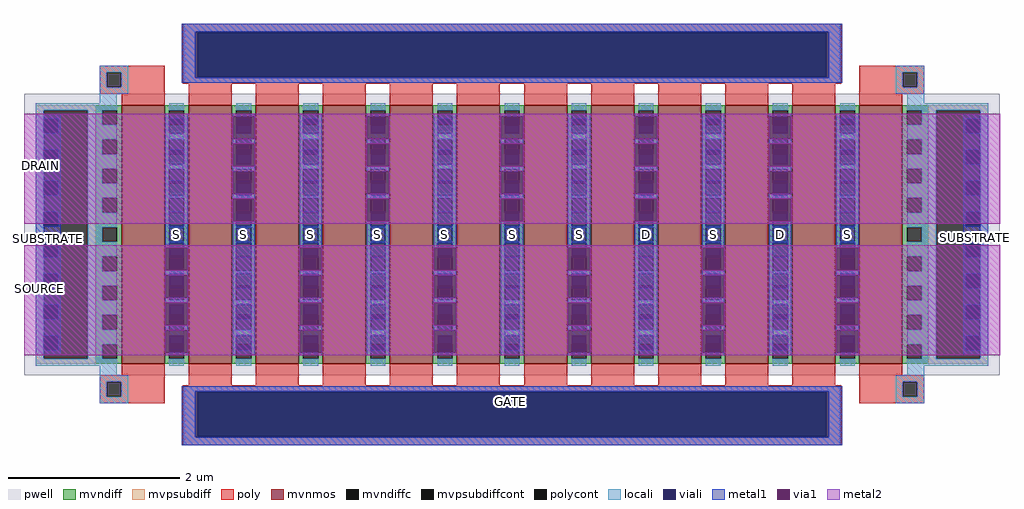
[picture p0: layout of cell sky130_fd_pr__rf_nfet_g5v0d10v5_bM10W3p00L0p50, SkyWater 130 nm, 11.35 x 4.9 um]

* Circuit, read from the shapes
.subckt sky130_fd_pr__rf_nfet_g5v0d10v5_bM10W3p00L0p50 DRAIN GATE SOURCE SUBSTRATE
XM1 SOURCE SUBSTRATE SUBSTRATE SUBSTRATE sky130_fd_pr__nfet_g5v0d10v5 w=3.01 l=0.5 m=2
XM2 DRAIN GATE SOURCE SUBSTRATE sky130_fd_pr__nfet_g5v0d10v5 w=3.01 l=0.5 m=10
.ends

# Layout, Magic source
magic
tech sky130A
magscale 1 2
<< pwell >>
rect 15 163 2283 817
<< mvnmos >>
rect 241 189 341 791
rect 397 189 497 791
rect 553 189 653 791
rect 709 189 809 791
rect 865 189 965 791
rect 1021 189 1121 791
rect 1177 189 1277 791
rect 1333 189 1433 791
rect 1489 189 1589 791
rect 1645 189 1745 791
rect 1801 189 1901 791
rect 1957 189 2057 791
<< mvndiff >>
rect 181 779 241 791
rect 181 745 196 779
rect 230 745 241 779
rect 181 711 241 745
rect 181 677 196 711
rect 230 677 241 711
rect 181 643 241 677
rect 181 609 196 643
rect 230 609 241 643
rect 181 575 241 609
rect 181 541 196 575
rect 230 541 241 575
rect 181 507 241 541
rect 181 473 196 507
rect 230 473 241 507
rect 181 439 241 473
rect 181 405 196 439
rect 230 405 241 439
rect 181 371 241 405
rect 181 337 196 371
rect 230 337 241 371
rect 181 303 241 337
rect 181 269 196 303
rect 230 269 241 303
rect 181 235 241 269
rect 181 201 196 235
rect 230 201 241 235
rect 181 189 241 201
rect 341 779 397 791
rect 341 745 352 779
rect 386 745 397 779
rect 341 711 397 745
rect 341 677 352 711
rect 386 677 397 711
rect 341 643 397 677
rect 341 609 352 643
rect 386 609 397 643
rect 341 575 397 609
rect 341 541 352 575
rect 386 541 397 575
rect 341 507 397 541
rect 341 473 352 507
rect 386 473 397 507
rect 341 439 397 473
rect 341 405 352 439
rect 386 405 397 439
rect 341 371 397 405
rect 341 337 352 371
rect 386 337 397 371
rect 341 303 397 337
rect 341 269 352 303
rect 386 269 397 303
rect 341 235 397 269
rect 341 201 352 235
rect 386 201 397 235
rect 341 189 397 201
rect 497 779 553 791
rect 497 745 508 779
rect 542 745 553 779
rect 497 711 553 745
rect 497 677 508 711
rect 542 677 553 711
rect 497 643 553 677
rect 497 609 508 643
rect 542 609 553 643
rect 497 575 553 609
rect 497 541 508 575
rect 542 541 553 575
rect 497 507 553 541
rect 497 473 508 507
rect 542 473 553 507
rect 497 439 553 473
rect 497 405 508 439
rect 542 405 553 439
rect 497 371 553 405
rect 497 337 508 371
rect 542 337 553 371
rect 497 303 553 337
rect 497 269 508 303
rect 542 269 553 303
rect 497 235 553 269
rect 497 201 508 235
rect 542 201 553 235
rect 497 189 553 201
rect 653 779 709 791
rect 653 745 664 779
rect 698 745 709 779
rect 653 711 709 745
rect 653 677 664 711
rect 698 677 709 711
rect 653 643 709 677
rect 653 609 664 643
rect 698 609 709 643
rect 653 575 709 609
rect 653 541 664 575
rect 698 541 709 575
rect 653 507 709 541
rect 653 473 664 507
rect 698 473 709 507
rect 653 439 709 473
rect 653 405 664 439
rect 698 405 709 439
rect 653 371 709 405
rect 653 337 664 371
rect 698 337 709 371
rect 653 303 709 337
rect 653 269 664 303
rect 698 269 709 303
rect 653 235 709 269
rect 653 201 664 235
rect 698 201 709 235
rect 653 189 709 201
rect 809 779 865 791
rect 809 745 820 779
rect 854 745 865 779
rect 809 711 865 745
rect 809 677 820 711
rect 854 677 865 711
rect 809 643 865 677
rect 809 609 820 643
rect 854 609 865 643
rect 809 575 865 609
rect 809 541 820 575
rect 854 541 865 575
rect 809 507 865 541
rect 809 473 820 507
rect 854 473 865 507
rect 809 439 865 473
rect 809 405 820 439
rect 854 405 865 439
rect 809 371 865 405
rect 809 337 820 371
rect 854 337 865 371
rect 809 303 865 337
rect 809 269 820 303
rect 854 269 865 303
rect 809 235 865 269
rect 809 201 820 235
rect 854 201 865 235
rect 809 189 865 201
rect 965 779 1021 791
rect 965 745 976 779
rect 1010 745 1021 779
rect 965 711 1021 745
rect 965 677 976 711
rect 1010 677 1021 711
rect 965 643 1021 677
rect 965 609 976 643
rect 1010 609 1021 643
rect 965 575 1021 609
rect 965 541 976 575
rect 1010 541 1021 575
rect 965 507 1021 541
rect 965 473 976 507
rect 1010 473 1021 507
rect 965 439 1021 473
rect 965 405 976 439
rect 1010 405 1021 439
rect 965 371 1021 405
rect 965 337 976 371
rect 1010 337 1021 371
rect 965 303 1021 337
rect 965 269 976 303
rect 1010 269 1021 303
rect 965 235 1021 269
rect 965 201 976 235
rect 1010 201 1021 235
rect 965 189 1021 201
rect 1121 779 1177 791
rect 1121 745 1132 779
rect 1166 745 1177 779
rect 1121 711 1177 745
rect 1121 677 1132 711
rect 1166 677 1177 711
rect 1121 643 1177 677
rect 1121 609 1132 643
rect 1166 609 1177 643
rect 1121 575 1177 609
rect 1121 541 1132 575
rect 1166 541 1177 575
rect 1121 507 1177 541
rect 1121 473 1132 507
rect 1166 473 1177 507
rect 1121 439 1177 473
rect 1121 405 1132 439
rect 1166 405 1177 439
rect 1121 371 1177 405
rect 1121 337 1132 371
rect 1166 337 1177 371
rect 1121 303 1177 337
rect 1121 269 1132 303
rect 1166 269 1177 303
rect 1121 235 1177 269
rect 1121 201 1132 235
rect 1166 201 1177 235
rect 1121 189 1177 201
rect 1277 779 1333 791
rect 1277 745 1288 779
rect 1322 745 1333 779
rect 1277 711 1333 745
rect 1277 677 1288 711
rect 1322 677 1333 711
rect 1277 643 1333 677
rect 1277 609 1288 643
rect 1322 609 1333 643
rect 1277 575 1333 609
rect 1277 541 1288 575
rect 1322 541 1333 575
rect 1277 507 1333 541
rect 1277 473 1288 507
rect 1322 473 1333 507
rect 1277 439 1333 473
rect 1277 405 1288 439
rect 1322 405 1333 439
rect 1277 371 1333 405
rect 1277 337 1288 371
rect 1322 337 1333 371
rect 1277 303 1333 337
rect 1277 269 1288 303
rect 1322 269 1333 303
rect 1277 235 1333 269
rect 1277 201 1288 235
rect 1322 201 1333 235
rect 1277 189 1333 201
rect 1433 779 1489 791
rect 1433 745 1444 779
rect 1478 745 1489 779
rect 1433 711 1489 745
rect 1433 677 1444 711
rect 1478 677 1489 711
rect 1433 643 1489 677
rect 1433 609 1444 643
rect 1478 609 1489 643
rect 1433 575 1489 609
rect 1433 541 1444 575
rect 1478 541 1489 575
rect 1433 507 1489 541
rect 1433 473 1444 507
rect 1478 473 1489 507
rect 1433 439 1489 473
rect 1433 405 1444 439
rect 1478 405 1489 439
rect 1433 371 1489 405
rect 1433 337 1444 371
rect 1478 337 1489 371
rect 1433 303 1489 337
rect 1433 269 1444 303
rect 1478 269 1489 303
rect 1433 235 1489 269
rect 1433 201 1444 235
rect 1478 201 1489 235
rect 1433 189 1489 201
rect 1589 779 1645 791
rect 1589 745 1600 779
rect 1634 745 1645 779
rect 1589 711 1645 745
rect 1589 677 1600 711
rect 1634 677 1645 711
rect 1589 643 1645 677
rect 1589 609 1600 643
rect 1634 609 1645 643
rect 1589 575 1645 609
rect 1589 541 1600 575
rect 1634 541 1645 575
rect 1589 507 1645 541
rect 1589 473 1600 507
rect 1634 473 1645 507
rect 1589 439 1645 473
rect 1589 405 1600 439
rect 1634 405 1645 439
rect 1589 371 1645 405
rect 1589 337 1600 371
rect 1634 337 1645 371
rect 1589 303 1645 337
rect 1589 269 1600 303
rect 1634 269 1645 303
rect 1589 235 1645 269
rect 1589 201 1600 235
rect 1634 201 1645 235
rect 1589 189 1645 201
rect 1745 779 1801 791
rect 1745 745 1756 779
rect 1790 745 1801 779
rect 1745 711 1801 745
rect 1745 677 1756 711
rect 1790 677 1801 711
rect 1745 643 1801 677
rect 1745 609 1756 643
rect 1790 609 1801 643
rect 1745 575 1801 609
rect 1745 541 1756 575
rect 1790 541 1801 575
rect 1745 507 1801 541
rect 1745 473 1756 507
rect 1790 473 1801 507
rect 1745 439 1801 473
rect 1745 405 1756 439
rect 1790 405 1801 439
rect 1745 371 1801 405
rect 1745 337 1756 371
rect 1790 337 1801 371
rect 1745 303 1801 337
rect 1745 269 1756 303
rect 1790 269 1801 303
rect 1745 235 1801 269
rect 1745 201 1756 235
rect 1790 201 1801 235
rect 1745 189 1801 201
rect 1901 779 1957 791
rect 1901 745 1912 779
rect 1946 745 1957 779
rect 1901 711 1957 745
rect 1901 677 1912 711
rect 1946 677 1957 711
rect 1901 643 1957 677
rect 1901 609 1912 643
rect 1946 609 1957 643
rect 1901 575 1957 609
rect 1901 541 1912 575
rect 1946 541 1957 575
rect 1901 507 1957 541
rect 1901 473 1912 507
rect 1946 473 1957 507
rect 1901 439 1957 473
rect 1901 405 1912 439
rect 1946 405 1957 439
rect 1901 371 1957 405
rect 1901 337 1912 371
rect 1946 337 1957 371
rect 1901 303 1957 337
rect 1901 269 1912 303
rect 1946 269 1957 303
rect 1901 235 1957 269
rect 1901 201 1912 235
rect 1946 201 1957 235
rect 1901 189 1957 201
rect 2057 779 2117 791
rect 2057 745 2068 779
rect 2102 745 2117 779
rect 2057 711 2117 745
rect 2057 677 2068 711
rect 2102 677 2117 711
rect 2057 643 2117 677
rect 2057 609 2068 643
rect 2102 609 2117 643
rect 2057 575 2117 609
rect 2057 541 2068 575
rect 2102 541 2117 575
rect 2057 507 2117 541
rect 2057 473 2068 507
rect 2102 473 2117 507
rect 2057 439 2117 473
rect 2057 405 2068 439
rect 2102 405 2117 439
rect 2057 371 2117 405
rect 2057 337 2068 371
rect 2102 337 2117 371
rect 2057 303 2117 337
rect 2057 269 2068 303
rect 2102 269 2117 303
rect 2057 235 2117 269
rect 2057 201 2068 235
rect 2102 201 2117 235
rect 2057 189 2117 201
<< mvndiffc >>
rect 196 745 230 779
rect 196 677 230 711
rect 196 609 230 643
rect 196 541 230 575
rect 196 473 230 507
rect 196 405 230 439
rect 196 337 230 371
rect 196 269 230 303
rect 196 201 230 235
rect 352 745 386 779
rect 352 677 386 711
rect 352 609 386 643
rect 352 541 386 575
rect 352 473 386 507
rect 352 405 386 439
rect 352 337 386 371
rect 352 269 386 303
rect 352 201 386 235
rect 508 745 542 779
rect 508 677 542 711
rect 508 609 542 643
rect 508 541 542 575
rect 508 473 542 507
rect 508 405 542 439
rect 508 337 542 371
rect 508 269 542 303
rect 508 201 542 235
rect 664 745 698 779
rect 664 677 698 711
rect 664 609 698 643
rect 664 541 698 575
rect 664 473 698 507
rect 664 405 698 439
rect 664 337 698 371
rect 664 269 698 303
rect 664 201 698 235
rect 820 745 854 779
rect 820 677 854 711
rect 820 609 854 643
rect 820 541 854 575
rect 820 473 854 507
rect 820 405 854 439
rect 820 337 854 371
rect 820 269 854 303
rect 820 201 854 235
rect 976 745 1010 779
rect 976 677 1010 711
rect 976 609 1010 643
rect 976 541 1010 575
rect 976 473 1010 507
rect 976 405 1010 439
rect 976 337 1010 371
rect 976 269 1010 303
rect 976 201 1010 235
rect 1132 745 1166 779
rect 1132 677 1166 711
rect 1132 609 1166 643
rect 1132 541 1166 575
rect 1132 473 1166 507
rect 1132 405 1166 439
rect 1132 337 1166 371
rect 1132 269 1166 303
rect 1132 201 1166 235
rect 1288 745 1322 779
rect 1288 677 1322 711
rect 1288 609 1322 643
rect 1288 541 1322 575
rect 1288 473 1322 507
rect 1288 405 1322 439
rect 1288 337 1322 371
rect 1288 269 1322 303
rect 1288 201 1322 235
rect 1444 745 1478 779
rect 1444 677 1478 711
rect 1444 609 1478 643
rect 1444 541 1478 575
rect 1444 473 1478 507
rect 1444 405 1478 439
rect 1444 337 1478 371
rect 1444 269 1478 303
rect 1444 201 1478 235
rect 1600 745 1634 779
rect 1600 677 1634 711
rect 1600 609 1634 643
rect 1600 541 1634 575
rect 1600 473 1634 507
rect 1600 405 1634 439
rect 1600 337 1634 371
rect 1600 269 1634 303
rect 1600 201 1634 235
rect 1756 745 1790 779
rect 1756 677 1790 711
rect 1756 609 1790 643
rect 1756 541 1790 575
rect 1756 473 1790 507
rect 1756 405 1790 439
rect 1756 337 1790 371
rect 1756 269 1790 303
rect 1756 201 1790 235
rect 1912 745 1946 779
rect 1912 677 1946 711
rect 1912 609 1946 643
rect 1912 541 1946 575
rect 1912 473 1946 507
rect 1912 405 1946 439
rect 1912 337 1946 371
rect 1912 269 1946 303
rect 1912 201 1946 235
rect 2068 745 2102 779
rect 2068 677 2102 711
rect 2068 609 2102 643
rect 2068 541 2102 575
rect 2068 473 2102 507
rect 2068 405 2102 439
rect 2068 337 2102 371
rect 2068 269 2102 303
rect 2068 201 2102 235
<< mvpsubdiff >>
rect 41 779 181 791
rect 41 201 60 779
rect 162 201 181 779
rect 41 189 181 201
rect 2117 779 2257 791
rect 2117 201 2136 779
rect 2238 201 2257 779
rect 2117 189 2257 201
<< mvpsubdiffcont >>
rect 60 201 162 779
rect 2136 201 2238 779
<< poly >>
rect 383 959 1915 980
rect 190 867 341 883
rect 190 833 206 867
rect 240 833 341 867
rect 383 857 418 959
rect 1880 857 1915 959
rect 383 841 1915 857
rect 1957 867 2108 883
rect 190 817 341 833
rect 241 791 341 817
rect 397 791 497 841
rect 553 791 653 841
rect 709 791 809 841
rect 865 791 965 841
rect 1021 791 1121 841
rect 1177 791 1277 841
rect 1333 791 1433 841
rect 1489 791 1589 841
rect 1645 791 1745 841
rect 1801 791 1901 841
rect 1957 833 2058 867
rect 2092 833 2108 867
rect 1957 817 2108 833
rect 1957 791 2057 817
rect 241 163 341 189
rect 190 147 341 163
rect 190 113 206 147
rect 240 113 341 147
rect 397 139 497 189
rect 553 139 653 189
rect 709 139 809 189
rect 865 139 965 189
rect 1021 139 1121 189
rect 1177 139 1277 189
rect 1333 139 1433 189
rect 1489 139 1589 189
rect 1645 139 1745 189
rect 1801 139 1901 189
rect 1957 163 2057 189
rect 1957 147 2108 163
rect 190 97 341 113
rect 383 123 1915 139
rect 383 21 418 123
rect 1880 21 1915 123
rect 1957 113 2058 147
rect 2092 113 2108 147
rect 1957 97 2108 113
rect 383 0 1915 21
<< polycont >>
rect 206 833 240 867
rect 418 857 1880 959
rect 2058 833 2092 867
rect 206 113 240 147
rect 418 21 1880 123
rect 2058 113 2092 147
<< locali >>
rect 385 961 1913 980
rect 190 867 256 883
rect 190 833 206 867
rect 240 833 256 867
rect 385 855 412 961
rect 1886 855 1913 961
rect 385 843 1913 855
rect 2042 867 2108 883
rect 190 817 256 833
rect 2042 833 2058 867
rect 2092 833 2108 867
rect 2042 817 2108 833
rect 190 795 230 817
rect 2068 795 2108 817
rect 41 779 230 795
rect 41 201 60 779
rect 162 745 196 779
rect 162 711 230 745
rect 162 677 196 711
rect 162 643 230 677
rect 162 609 196 643
rect 162 575 230 609
rect 162 541 196 575
rect 162 507 230 541
rect 162 473 196 507
rect 162 439 230 473
rect 162 405 196 439
rect 162 371 230 405
rect 162 337 196 371
rect 162 303 230 337
rect 162 269 196 303
rect 162 235 230 269
rect 162 201 196 235
rect 41 185 230 201
rect 352 779 386 795
rect 352 711 386 725
rect 352 643 386 653
rect 352 575 386 581
rect 352 507 386 509
rect 352 471 386 473
rect 352 399 386 405
rect 352 327 386 337
rect 352 255 386 269
rect 352 185 386 201
rect 508 779 542 795
rect 508 711 542 725
rect 508 643 542 653
rect 508 575 542 581
rect 508 507 542 509
rect 508 471 542 473
rect 508 399 542 405
rect 508 327 542 337
rect 508 255 542 269
rect 508 185 542 201
rect 664 779 698 795
rect 664 711 698 725
rect 664 643 698 653
rect 664 575 698 581
rect 664 507 698 509
rect 664 471 698 473
rect 664 399 698 405
rect 664 327 698 337
rect 664 255 698 269
rect 664 185 698 201
rect 820 779 854 795
rect 820 711 854 725
rect 820 643 854 653
rect 820 575 854 581
rect 820 507 854 509
rect 820 471 854 473
rect 820 399 854 405
rect 820 327 854 337
rect 820 255 854 269
rect 820 185 854 201
rect 976 779 1010 795
rect 976 711 1010 725
rect 976 643 1010 653
rect 976 575 1010 581
rect 976 507 1010 509
rect 976 471 1010 473
rect 976 399 1010 405
rect 976 327 1010 337
rect 976 255 1010 269
rect 976 185 1010 201
rect 1132 779 1166 795
rect 1132 711 1166 725
rect 1132 643 1166 653
rect 1132 575 1166 581
rect 1132 507 1166 509
rect 1132 471 1166 473
rect 1132 399 1166 405
rect 1132 327 1166 337
rect 1132 255 1166 269
rect 1132 185 1166 201
rect 1288 779 1322 795
rect 1288 711 1322 725
rect 1288 643 1322 653
rect 1288 575 1322 581
rect 1288 507 1322 509
rect 1288 471 1322 473
rect 1288 399 1322 405
rect 1288 327 1322 337
rect 1288 255 1322 269
rect 1288 185 1322 201
rect 1444 779 1478 795
rect 1444 711 1478 725
rect 1444 643 1478 653
rect 1444 575 1478 581
rect 1444 507 1478 509
rect 1444 471 1478 473
rect 1444 399 1478 405
rect 1444 327 1478 337
rect 1444 255 1478 269
rect 1444 185 1478 201
rect 1600 779 1634 795
rect 1600 711 1634 725
rect 1600 643 1634 653
rect 1600 575 1634 581
rect 1600 507 1634 509
rect 1600 471 1634 473
rect 1600 399 1634 405
rect 1600 327 1634 337
rect 1600 255 1634 269
rect 1600 185 1634 201
rect 1756 779 1790 795
rect 1756 711 1790 725
rect 1756 643 1790 653
rect 1756 575 1790 581
rect 1756 507 1790 509
rect 1756 471 1790 473
rect 1756 399 1790 405
rect 1756 327 1790 337
rect 1756 255 1790 269
rect 1756 185 1790 201
rect 1912 779 1946 795
rect 1912 711 1946 725
rect 1912 643 1946 653
rect 1912 575 1946 581
rect 1912 507 1946 509
rect 1912 471 1946 473
rect 1912 399 1946 405
rect 1912 327 1946 337
rect 1912 255 1946 269
rect 1912 185 1946 201
rect 2068 779 2257 795
rect 2102 745 2136 779
rect 2068 711 2136 745
rect 2102 677 2136 711
rect 2068 643 2136 677
rect 2102 609 2136 643
rect 2068 575 2136 609
rect 2102 541 2136 575
rect 2068 507 2136 541
rect 2102 473 2136 507
rect 2068 439 2136 473
rect 2102 405 2136 439
rect 2068 371 2136 405
rect 2102 337 2136 371
rect 2068 303 2136 337
rect 2102 269 2136 303
rect 2068 235 2136 269
rect 2102 201 2136 235
rect 2238 201 2257 779
rect 2068 185 2257 201
rect 190 163 230 185
rect 2068 163 2108 185
rect 190 147 256 163
rect 190 113 206 147
rect 240 113 256 147
rect 2042 147 2108 163
rect 190 97 256 113
rect 385 125 1913 137
rect 385 19 412 125
rect 1886 19 1913 125
rect 2042 113 2058 147
rect 2092 113 2108 147
rect 2042 97 2108 113
rect 385 0 1913 19
<< viali >>
rect 412 959 1886 961
rect 412 857 418 959
rect 418 857 1880 959
rect 1880 857 1886 959
rect 412 855 1886 857
rect 60 725 94 759
rect 60 653 94 687
rect 60 581 94 615
rect 60 509 94 543
rect 60 437 94 471
rect 60 365 94 399
rect 60 293 94 327
rect 60 221 94 255
rect 352 745 386 759
rect 352 725 386 745
rect 352 677 386 687
rect 352 653 386 677
rect 352 609 386 615
rect 352 581 386 609
rect 352 541 386 543
rect 352 509 386 541
rect 352 439 386 471
rect 352 437 386 439
rect 352 371 386 399
rect 352 365 386 371
rect 352 303 386 327
rect 352 293 386 303
rect 352 235 386 255
rect 352 221 386 235
rect 508 745 542 759
rect 508 725 542 745
rect 508 677 542 687
rect 508 653 542 677
rect 508 609 542 615
rect 508 581 542 609
rect 508 541 542 543
rect 508 509 542 541
rect 508 439 542 471
rect 508 437 542 439
rect 508 371 542 399
rect 508 365 542 371
rect 508 303 542 327
rect 508 293 542 303
rect 508 235 542 255
rect 508 221 542 235
rect 664 745 698 759
rect 664 725 698 745
rect 664 677 698 687
rect 664 653 698 677
rect 664 609 698 615
rect 664 581 698 609
rect 664 541 698 543
rect 664 509 698 541
rect 664 439 698 471
rect 664 437 698 439
rect 664 371 698 399
rect 664 365 698 371
rect 664 303 698 327
rect 664 293 698 303
rect 664 235 698 255
rect 664 221 698 235
rect 820 745 854 759
rect 820 725 854 745
rect 820 677 854 687
rect 820 653 854 677
rect 820 609 854 615
rect 820 581 854 609
rect 820 541 854 543
rect 820 509 854 541
rect 820 439 854 471
rect 820 437 854 439
rect 820 371 854 399
rect 820 365 854 371
rect 820 303 854 327
rect 820 293 854 303
rect 820 235 854 255
rect 820 221 854 235
rect 976 745 1010 759
rect 976 725 1010 745
rect 976 677 1010 687
rect 976 653 1010 677
rect 976 609 1010 615
rect 976 581 1010 609
rect 976 541 1010 543
rect 976 509 1010 541
rect 976 439 1010 471
rect 976 437 1010 439
rect 976 371 1010 399
rect 976 365 1010 371
rect 976 303 1010 327
rect 976 293 1010 303
rect 976 235 1010 255
rect 976 221 1010 235
rect 1132 745 1166 759
rect 1132 725 1166 745
rect 1132 677 1166 687
rect 1132 653 1166 677
rect 1132 609 1166 615
rect 1132 581 1166 609
rect 1132 541 1166 543
rect 1132 509 1166 541
rect 1132 439 1166 471
rect 1132 437 1166 439
rect 1132 371 1166 399
rect 1132 365 1166 371
rect 1132 303 1166 327
rect 1132 293 1166 303
rect 1132 235 1166 255
rect 1132 221 1166 235
rect 1288 745 1322 759
rect 1288 725 1322 745
rect 1288 677 1322 687
rect 1288 653 1322 677
rect 1288 609 1322 615
rect 1288 581 1322 609
rect 1288 541 1322 543
rect 1288 509 1322 541
rect 1288 439 1322 471
rect 1288 437 1322 439
rect 1288 371 1322 399
rect 1288 365 1322 371
rect 1288 303 1322 327
rect 1288 293 1322 303
rect 1288 235 1322 255
rect 1288 221 1322 235
rect 1444 745 1478 759
rect 1444 725 1478 745
rect 1444 677 1478 687
rect 1444 653 1478 677
rect 1444 609 1478 615
rect 1444 581 1478 609
rect 1444 541 1478 543
rect 1444 509 1478 541
rect 1444 439 1478 471
rect 1444 437 1478 439
rect 1444 371 1478 399
rect 1444 365 1478 371
rect 1444 303 1478 327
rect 1444 293 1478 303
rect 1444 235 1478 255
rect 1444 221 1478 235
rect 1600 745 1634 759
rect 1600 725 1634 745
rect 1600 677 1634 687
rect 1600 653 1634 677
rect 1600 609 1634 615
rect 1600 581 1634 609
rect 1600 541 1634 543
rect 1600 509 1634 541
rect 1600 439 1634 471
rect 1600 437 1634 439
rect 1600 371 1634 399
rect 1600 365 1634 371
rect 1600 303 1634 327
rect 1600 293 1634 303
rect 1600 235 1634 255
rect 1600 221 1634 235
rect 1756 745 1790 759
rect 1756 725 1790 745
rect 1756 677 1790 687
rect 1756 653 1790 677
rect 1756 609 1790 615
rect 1756 581 1790 609
rect 1756 541 1790 543
rect 1756 509 1790 541
rect 1756 439 1790 471
rect 1756 437 1790 439
rect 1756 371 1790 399
rect 1756 365 1790 371
rect 1756 303 1790 327
rect 1756 293 1790 303
rect 1756 235 1790 255
rect 1756 221 1790 235
rect 1912 745 1946 759
rect 1912 725 1946 745
rect 1912 677 1946 687
rect 1912 653 1946 677
rect 1912 609 1946 615
rect 1912 581 1946 609
rect 1912 541 1946 543
rect 1912 509 1946 541
rect 1912 439 1946 471
rect 1912 437 1946 439
rect 1912 371 1946 399
rect 1912 365 1946 371
rect 1912 303 1946 327
rect 1912 293 1946 303
rect 1912 235 1946 255
rect 1912 221 1946 235
rect 2204 725 2238 759
rect 2204 653 2238 687
rect 2204 581 2238 615
rect 2204 509 2238 543
rect 2204 437 2238 471
rect 2204 365 2238 399
rect 2204 293 2238 327
rect 2204 221 2238 255
rect 412 123 1886 125
rect 412 21 418 123
rect 418 21 1880 123
rect 1880 21 1886 123
rect 412 19 1886 21
<< metal1 >>
rect 381 961 1917 980
rect 381 855 412 961
rect 1886 855 1917 961
rect 381 843 1917 855
rect 41 759 100 771
rect 41 725 60 759
rect 94 725 100 759
rect 41 687 100 725
rect 41 653 60 687
rect 94 653 100 687
rect 41 615 100 653
rect 41 581 60 615
rect 94 581 100 615
rect 41 543 100 581
rect 41 509 60 543
rect 94 509 100 543
rect 41 471 100 509
rect 41 437 60 471
rect 94 437 100 471
rect 41 399 100 437
rect 41 365 60 399
rect 94 365 100 399
rect 41 327 100 365
rect 41 293 60 327
rect 94 293 100 327
rect 41 255 100 293
rect 41 221 60 255
rect 94 221 100 255
rect 41 209 100 221
rect 343 759 395 771
rect 343 725 352 759
rect 386 725 395 759
rect 343 687 395 725
rect 343 653 352 687
rect 386 653 395 687
rect 343 615 395 653
rect 343 581 352 615
rect 386 581 395 615
rect 343 543 395 581
rect 343 509 352 543
rect 386 509 395 543
rect 343 471 395 509
rect 343 459 352 471
rect 386 459 395 471
rect 343 399 395 407
rect 343 395 352 399
rect 386 395 395 399
rect 343 331 395 343
rect 343 267 395 279
rect 343 209 395 215
rect 499 765 551 771
rect 499 701 551 713
rect 499 637 551 649
rect 499 581 508 585
rect 542 581 551 585
rect 499 573 551 581
rect 499 509 508 521
rect 542 509 551 521
rect 499 471 551 509
rect 499 437 508 471
rect 542 437 551 471
rect 499 399 551 437
rect 499 365 508 399
rect 542 365 551 399
rect 499 327 551 365
rect 499 293 508 327
rect 542 293 551 327
rect 499 255 551 293
rect 499 221 508 255
rect 542 221 551 255
rect 499 209 551 221
rect 655 759 707 771
rect 655 725 664 759
rect 698 725 707 759
rect 655 687 707 725
rect 655 653 664 687
rect 698 653 707 687
rect 655 615 707 653
rect 655 581 664 615
rect 698 581 707 615
rect 655 543 707 581
rect 655 509 664 543
rect 698 509 707 543
rect 655 471 707 509
rect 655 459 664 471
rect 698 459 707 471
rect 655 399 707 407
rect 655 395 664 399
rect 698 395 707 399
rect 655 331 707 343
rect 655 267 707 279
rect 655 209 707 215
rect 811 765 863 771
rect 811 701 863 713
rect 811 637 863 649
rect 811 581 820 585
rect 854 581 863 585
rect 811 573 863 581
rect 811 509 820 521
rect 854 509 863 521
rect 811 471 863 509
rect 811 437 820 471
rect 854 437 863 471
rect 811 399 863 437
rect 811 365 820 399
rect 854 365 863 399
rect 811 327 863 365
rect 811 293 820 327
rect 854 293 863 327
rect 811 255 863 293
rect 811 221 820 255
rect 854 221 863 255
rect 811 209 863 221
rect 967 759 1019 771
rect 967 725 976 759
rect 1010 725 1019 759
rect 967 687 1019 725
rect 967 653 976 687
rect 1010 653 1019 687
rect 967 615 1019 653
rect 967 581 976 615
rect 1010 581 1019 615
rect 967 543 1019 581
rect 967 509 976 543
rect 1010 509 1019 543
rect 967 471 1019 509
rect 967 459 976 471
rect 1010 459 1019 471
rect 967 399 1019 407
rect 967 395 976 399
rect 1010 395 1019 399
rect 967 331 1019 343
rect 967 267 1019 279
rect 967 209 1019 215
rect 1123 765 1175 771
rect 1123 701 1175 713
rect 1123 637 1175 649
rect 1123 581 1132 585
rect 1166 581 1175 585
rect 1123 573 1175 581
rect 1123 509 1132 521
rect 1166 509 1175 521
rect 1123 471 1175 509
rect 1123 437 1132 471
rect 1166 437 1175 471
rect 1123 399 1175 437
rect 1123 365 1132 399
rect 1166 365 1175 399
rect 1123 327 1175 365
rect 1123 293 1132 327
rect 1166 293 1175 327
rect 1123 255 1175 293
rect 1123 221 1132 255
rect 1166 221 1175 255
rect 1123 209 1175 221
rect 1279 759 1331 771
rect 1279 725 1288 759
rect 1322 725 1331 759
rect 1279 687 1331 725
rect 1279 653 1288 687
rect 1322 653 1331 687
rect 1279 615 1331 653
rect 1279 581 1288 615
rect 1322 581 1331 615
rect 1279 543 1331 581
rect 1279 509 1288 543
rect 1322 509 1331 543
rect 1279 471 1331 509
rect 1279 459 1288 471
rect 1322 459 1331 471
rect 1279 399 1331 407
rect 1279 395 1288 399
rect 1322 395 1331 399
rect 1279 331 1331 343
rect 1279 267 1331 279
rect 1279 209 1331 215
rect 1435 765 1487 771
rect 1435 701 1487 713
rect 1435 637 1487 649
rect 1435 581 1444 585
rect 1478 581 1487 585
rect 1435 573 1487 581
rect 1435 509 1444 521
rect 1478 509 1487 521
rect 1435 471 1487 509
rect 1435 437 1444 471
rect 1478 437 1487 471
rect 1435 399 1487 437
rect 1435 365 1444 399
rect 1478 365 1487 399
rect 1435 327 1487 365
rect 1435 293 1444 327
rect 1478 293 1487 327
rect 1435 255 1487 293
rect 1435 221 1444 255
rect 1478 221 1487 255
rect 1435 209 1487 221
rect 1591 759 1643 771
rect 1591 725 1600 759
rect 1634 725 1643 759
rect 1591 687 1643 725
rect 1591 653 1600 687
rect 1634 653 1643 687
rect 1591 615 1643 653
rect 1591 581 1600 615
rect 1634 581 1643 615
rect 1591 543 1643 581
rect 1591 509 1600 543
rect 1634 509 1643 543
rect 1591 471 1643 509
rect 1591 459 1600 471
rect 1634 459 1643 471
rect 1591 399 1643 407
rect 1591 395 1600 399
rect 1634 395 1643 399
rect 1591 331 1643 343
rect 1591 267 1643 279
rect 1591 209 1643 215
rect 1747 765 1799 771
rect 1747 701 1799 713
rect 1747 637 1799 649
rect 1747 581 1756 585
rect 1790 581 1799 585
rect 1747 573 1799 581
rect 1747 509 1756 521
rect 1790 509 1799 521
rect 1747 471 1799 509
rect 1747 437 1756 471
rect 1790 437 1799 471
rect 1747 399 1799 437
rect 1747 365 1756 399
rect 1790 365 1799 399
rect 1747 327 1799 365
rect 1747 293 1756 327
rect 1790 293 1799 327
rect 1747 255 1799 293
rect 1747 221 1756 255
rect 1790 221 1799 255
rect 1747 209 1799 221
rect 1903 759 1955 771
rect 1903 725 1912 759
rect 1946 725 1955 759
rect 1903 687 1955 725
rect 1903 653 1912 687
rect 1946 653 1955 687
rect 1903 615 1955 653
rect 1903 581 1912 615
rect 1946 581 1955 615
rect 1903 543 1955 581
rect 1903 509 1912 543
rect 1946 509 1955 543
rect 1903 471 1955 509
rect 1903 459 1912 471
rect 1946 459 1955 471
rect 1903 399 1955 407
rect 1903 395 1912 399
rect 1946 395 1955 399
rect 1903 331 1955 343
rect 1903 267 1955 279
rect 1903 209 1955 215
rect 2198 759 2257 771
rect 2198 725 2204 759
rect 2238 725 2257 759
rect 2198 687 2257 725
rect 2198 653 2204 687
rect 2238 653 2257 687
rect 2198 615 2257 653
rect 2198 581 2204 615
rect 2238 581 2257 615
rect 2198 543 2257 581
rect 2198 509 2204 543
rect 2238 509 2257 543
rect 2198 471 2257 509
rect 2198 437 2204 471
rect 2238 437 2257 471
rect 2198 399 2257 437
rect 2198 365 2204 399
rect 2238 365 2257 399
rect 2198 327 2257 365
rect 2198 293 2204 327
rect 2238 293 2257 327
rect 2198 255 2257 293
rect 2198 221 2204 255
rect 2238 221 2257 255
rect 2198 209 2257 221
rect 381 125 1917 137
rect 381 19 412 125
rect 1886 19 1917 125
rect 381 0 1917 19
<< via1 >>
rect 343 437 352 459
rect 352 437 386 459
rect 386 437 395 459
rect 343 407 395 437
rect 343 365 352 395
rect 352 365 386 395
rect 386 365 395 395
rect 343 343 395 365
rect 343 327 395 331
rect 343 293 352 327
rect 352 293 386 327
rect 386 293 395 327
rect 343 279 395 293
rect 343 255 395 267
rect 343 221 352 255
rect 352 221 386 255
rect 386 221 395 255
rect 343 215 395 221
rect 499 759 551 765
rect 499 725 508 759
rect 508 725 542 759
rect 542 725 551 759
rect 499 713 551 725
rect 499 687 551 701
rect 499 653 508 687
rect 508 653 542 687
rect 542 653 551 687
rect 499 649 551 653
rect 499 615 551 637
rect 499 585 508 615
rect 508 585 542 615
rect 542 585 551 615
rect 499 543 551 573
rect 499 521 508 543
rect 508 521 542 543
rect 542 521 551 543
rect 655 437 664 459
rect 664 437 698 459
rect 698 437 707 459
rect 655 407 707 437
rect 655 365 664 395
rect 664 365 698 395
rect 698 365 707 395
rect 655 343 707 365
rect 655 327 707 331
rect 655 293 664 327
rect 664 293 698 327
rect 698 293 707 327
rect 655 279 707 293
rect 655 255 707 267
rect 655 221 664 255
rect 664 221 698 255
rect 698 221 707 255
rect 655 215 707 221
rect 811 759 863 765
rect 811 725 820 759
rect 820 725 854 759
rect 854 725 863 759
rect 811 713 863 725
rect 811 687 863 701
rect 811 653 820 687
rect 820 653 854 687
rect 854 653 863 687
rect 811 649 863 653
rect 811 615 863 637
rect 811 585 820 615
rect 820 585 854 615
rect 854 585 863 615
rect 811 543 863 573
rect 811 521 820 543
rect 820 521 854 543
rect 854 521 863 543
rect 967 437 976 459
rect 976 437 1010 459
rect 1010 437 1019 459
rect 967 407 1019 437
rect 967 365 976 395
rect 976 365 1010 395
rect 1010 365 1019 395
rect 967 343 1019 365
rect 967 327 1019 331
rect 967 293 976 327
rect 976 293 1010 327
rect 1010 293 1019 327
rect 967 279 1019 293
rect 967 255 1019 267
rect 967 221 976 255
rect 976 221 1010 255
rect 1010 221 1019 255
rect 967 215 1019 221
rect 1123 759 1175 765
rect 1123 725 1132 759
rect 1132 725 1166 759
rect 1166 725 1175 759
rect 1123 713 1175 725
rect 1123 687 1175 701
rect 1123 653 1132 687
rect 1132 653 1166 687
rect 1166 653 1175 687
rect 1123 649 1175 653
rect 1123 615 1175 637
rect 1123 585 1132 615
rect 1132 585 1166 615
rect 1166 585 1175 615
rect 1123 543 1175 573
rect 1123 521 1132 543
rect 1132 521 1166 543
rect 1166 521 1175 543
rect 1279 437 1288 459
rect 1288 437 1322 459
rect 1322 437 1331 459
rect 1279 407 1331 437
rect 1279 365 1288 395
rect 1288 365 1322 395
rect 1322 365 1331 395
rect 1279 343 1331 365
rect 1279 327 1331 331
rect 1279 293 1288 327
rect 1288 293 1322 327
rect 1322 293 1331 327
rect 1279 279 1331 293
rect 1279 255 1331 267
rect 1279 221 1288 255
rect 1288 221 1322 255
rect 1322 221 1331 255
rect 1279 215 1331 221
rect 1435 759 1487 765
rect 1435 725 1444 759
rect 1444 725 1478 759
rect 1478 725 1487 759
rect 1435 713 1487 725
rect 1435 687 1487 701
rect 1435 653 1444 687
rect 1444 653 1478 687
rect 1478 653 1487 687
rect 1435 649 1487 653
rect 1435 615 1487 637
rect 1435 585 1444 615
rect 1444 585 1478 615
rect 1478 585 1487 615
rect 1435 543 1487 573
rect 1435 521 1444 543
rect 1444 521 1478 543
rect 1478 521 1487 543
rect 1591 437 1600 459
rect 1600 437 1634 459
rect 1634 437 1643 459
rect 1591 407 1643 437
rect 1591 365 1600 395
rect 1600 365 1634 395
rect 1634 365 1643 395
rect 1591 343 1643 365
rect 1591 327 1643 331
rect 1591 293 1600 327
rect 1600 293 1634 327
rect 1634 293 1643 327
rect 1591 279 1643 293
rect 1591 255 1643 267
rect 1591 221 1600 255
rect 1600 221 1634 255
rect 1634 221 1643 255
rect 1591 215 1643 221
rect 1747 759 1799 765
rect 1747 725 1756 759
rect 1756 725 1790 759
rect 1790 725 1799 759
rect 1747 713 1799 725
rect 1747 687 1799 701
rect 1747 653 1756 687
rect 1756 653 1790 687
rect 1790 653 1799 687
rect 1747 649 1799 653
rect 1747 615 1799 637
rect 1747 585 1756 615
rect 1756 585 1790 615
rect 1790 585 1799 615
rect 1747 543 1799 573
rect 1747 521 1756 543
rect 1756 521 1790 543
rect 1790 521 1799 543
rect 1903 437 1912 459
rect 1912 437 1946 459
rect 1946 437 1955 459
rect 1903 407 1955 437
rect 1903 365 1912 395
rect 1912 365 1946 395
rect 1946 365 1955 395
rect 1903 343 1955 365
rect 1903 327 1955 331
rect 1903 293 1912 327
rect 1912 293 1946 327
rect 1946 293 1955 327
rect 1903 279 1955 293
rect 1903 255 1955 267
rect 1903 221 1912 255
rect 1912 221 1946 255
rect 1946 221 1955 255
rect 1903 215 1955 221
<< metal2 >>
rect 14 765 2284 771
rect 14 713 499 765
rect 551 713 811 765
rect 863 713 1123 765
rect 1175 713 1435 765
rect 1487 713 1747 765
rect 1799 713 2284 765
rect 14 701 2284 713
rect 14 649 499 701
rect 551 649 811 701
rect 863 649 1123 701
rect 1175 649 1435 701
rect 1487 649 1747 701
rect 1799 649 2284 701
rect 14 637 2284 649
rect 14 585 499 637
rect 551 585 811 637
rect 863 585 1123 637
rect 1175 585 1435 637
rect 1487 585 1747 637
rect 1799 585 2284 637
rect 14 573 2284 585
rect 14 521 499 573
rect 551 521 811 573
rect 863 521 1123 573
rect 1175 521 1435 573
rect 1487 521 1747 573
rect 1799 521 2284 573
rect 14 515 2284 521
rect 14 459 2284 465
rect 14 407 343 459
rect 395 407 655 459
rect 707 407 967 459
rect 1019 407 1279 459
rect 1331 407 1591 459
rect 1643 407 1903 459
rect 1955 407 2284 459
rect 14 395 2284 407
rect 14 343 343 395
rect 395 343 655 395
rect 707 343 967 395
rect 1019 343 1279 395
rect 1331 343 1591 395
rect 1643 343 1903 395
rect 1955 343 2284 395
rect 14 331 2284 343
rect 14 279 343 331
rect 395 279 655 331
rect 707 279 967 331
rect 1019 279 1279 331
rect 1331 279 1591 331
rect 1643 279 1903 331
rect 1955 279 2284 331
rect 14 267 2284 279
rect 14 215 343 267
rect 395 215 655 267
rect 707 215 967 267
rect 1019 215 1279 267
rect 1331 215 1591 267
rect 1643 215 1903 267
rect 1955 215 2284 267
rect 14 209 2284 215
<< labels >>
flabel metal1 s 1098 85 1195 120 0 FreeSans 200 0 0 0 GATE
port 2 nsew
flabel metal2 s 36 313 66 417 0 FreeSans 400 90 0 0 SOURCE
port 3 nsew
flabel metal2 s 35 602 70 699 0 FreeSans 400 270 0 0 DRAIN
port 1 nsew
flabel comment s 1617 490 1617 490 0 FreeSans 300 0 0 0 S
flabel comment s 1929 490 1929 490 0 FreeSans 300 0 0 0 S
flabel comment s 1773 490 1773 490 0 FreeSans 300 0 0 0 D
flabel comment s 1617 490 1617 490 0 FreeSans 300 0 0 0 S
flabel comment s 1461 490 1461 490 0 FreeSans 300 0 0 0 D
flabel comment s 1773 490 1773 490 0 FreeSans 300 0 0 0 S
flabel comment s 1461 490 1461 490 0 FreeSans 300 0 0 0 S
flabel comment s 993 490 993 490 0 FreeSans 300 0 0 0 S
flabel comment s 1149 490 1149 490 0 FreeSans 300 0 0 0 S
flabel comment s 1305 490 1305 490 0 FreeSans 300 0 0 0 S
flabel comment s 993 490 993 490 0 FreeSans 300 0 0 0 D
flabel comment s 1149 490 1149 490 0 FreeSans 300 0 0 0 S
flabel comment s 1305 490 1305 490 0 FreeSans 300 0 0 0 D
flabel comment s 681 490 681 490 0 FreeSans 300 0 0 0 S
flabel comment s 837 490 837 490 0 FreeSans 300 0 0 0 S
flabel comment s 681 490 681 490 0 FreeSans 300 0 0 0 S
flabel comment s 837 490 837 490 0 FreeSans 300 0 0 0 D
flabel comment s 369 490 369 490 0 FreeSans 300 0 0 0 S
flabel comment s 369 490 369 490 0 FreeSans 300 0 0 0 S
flabel comment s 525 490 525 490 0 FreeSans 300 0 0 0 S
flabel comment s 525 490 525 490 0 FreeSans 300 0 0 0 D
flabel comment s 2002 480 2002 480 0 FreeSans 400 90 0 0 dummy_poly
flabel comment s 286 493 286 493 0 FreeSans 400 90 0 0 dummy_poly
flabel metal1 s 2198 469 2257 499 0 FreeSans 200 90 0 0 SUBSTRATE
port 4 nsew
flabel metal1 s 41 466 100 496 0 FreeSans 200 90 0 0 SUBSTRATE
port 4 nsew
<< properties >>
string GDS_FILE $PDKPATH/libs.ref/sky130_fd_pr/gds/sky130_fd_pr.gds
string GDS_END 8551150
string GDS_START 8510120
<< end >>
